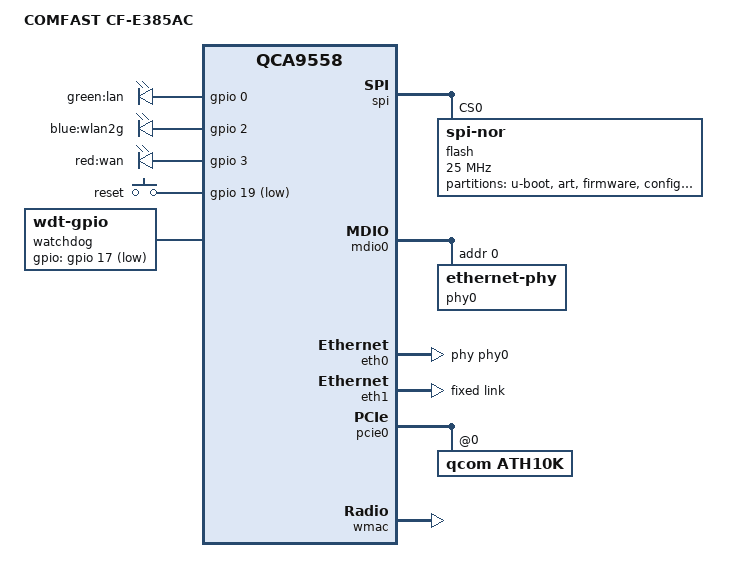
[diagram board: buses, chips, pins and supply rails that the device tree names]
// SPDX-License-Identifier: GPL-2.0-or-later OR MIT

#include "qca955x.dtsi"

#include <dt-bindings/gpio/gpio.h>
#include <dt-bindings/input/input.h>

/ {
	compatible = "comfast,cf-e385ac", "qca,qca9558";
	model = "COMFAST CF-E385AC";

	aliases {
		label-mac-device = &eth0;
		led-boot = &led_lan;
		led-failsafe = &led_lan;
		led-running = &led_lan;
		led-upgrade = &led_lan;
	};

	leds {
		compatible = "gpio-leds";

		led_lan: lan {
			label = "green:lan";
			gpios = <&gpio 0 GPIO_ACTIVE_HIGH>;
		};

		wlan2g {
			label = "blue:wlan2g";
			gpios = <&gpio 2 GPIO_ACTIVE_HIGH>;
			linux,default-trigger = "phy1tpt";
		};

		wan {
			label = "red:wan";
			gpios = <&gpio 3 GPIO_ACTIVE_HIGH>;
		};
	};

	keys {
		compatible = "gpio-keys";

		reset {
			label = "reset";
			linux,code = <KEY_RESTART>;
			gpios = <&gpio 19 GPIO_ACTIVE_LOW>;
			debounce-interval = <60>;
		};
	};

	watchdog {
		compatible = "linux,wdt-gpio";
		gpios = <&gpio 17 GPIO_ACTIVE_LOW>;
		hw_algo = "toggle";
		hw_margin_ms = <500>;
		always-running;
	};
};

&pinmux {
	pinctrl-names = "default";
	pinctrl-0 = <&jtag_disable_pins>;
};

&wdt {
	status = "disabled";
};

&spi {
	status = "okay";

	flash@0 {
		compatible = "jedec,spi-nor";
		reg = <0>;
		spi-max-frequency = <25000000>;

		partitions {
			compatible = "fixed-partitions";
			#address-cells = <1>;
			#size-cells = <1>;

			partition@0 {
				label = "u-boot";
				reg = <0x0 0x40000>;
				read-only;
			};

			art: partition@40000 {
				label = "art";
				reg = <0x40000 0x10000>;
				read-only;
			};

			partition@50000 {
				compatible = "denx,uimage";
				label = "firmware";
				reg = <0x050000 0xf90000>;
			};

			partition@fe0000 {
				label = "configs";
				reg = <0xfe0000 0x010000>;
				read-only;
			};

			partition@ff0000 {
				label = "art-backup";
				reg = <0xff0000 0x10000>;
				read-only;
			};
		};
	};
};

&mdio0 {
	status = "okay";

	phy0: ethernet-phy@0 {
		reg = <0>;

		qca,mib-poll-interval = <500>;
		qca,ar8327-initvals = <
			0x04 0x87600000 /* PORT0 PAD MODE CTRL: RGMII, MAC0/6 exchage, tx_delay 01, rx_delay 10 */
			0x0c 0x00080080 /* PORT6 PAD MODE CTRL: SGMII */
			0x10 0x81000080 /* POWER_ON_STRIP */
			0x7c 0x0000007e /* PORT0_STATUS */
			0x94 0x0000007e /* PORT6 STATUS */
			>;
	};
};

&eth0 {
	status = "okay";

	pll-data = <0xa6000000 0x00000101 0x00001616>;
	phy-handle = <&phy0>;

	nvmem-cells = <&macaddr_art_lan>;
	nvmem-cell-names = "mac-address";
};

&eth1 {
	status = "okay";

	pll-data = <0x03000101 0x00000101 0x00001616>;

	nvmem-cells = <&macaddr_art_lan>;
	nvmem-cell-names = "mac-address";
	mac-address-increment = <1>;

	fixed-link {
		speed = <1000>;
		full-duplex;
	};
};

&pcie0 {
	status = "okay";

	ath10k: wifi@0,0 {
		compatible = "qcom,ath10k";
		reg = <0x0000 0 0 0 0>;

		nvmem-cells = <&macaddr_art_wlan>, <&precal_ath10k>;
		nvmem-cell-names = "mac-address", "pre-calibration";
	};
};

&wmac {
	status = "okay";

	nvmem-cells = <&macaddr_art_wlan>, <&cal_ath9k>;
	nvmem-cell-names = "mac-address", "calibration";
	mac-address-increment = <8>;
};

&art {
	compatible = "nvmem-cells";
	#address-cells = <1>;
	#size-cells = <1>;

	macaddr_art_lan: macaddr@0 {
		reg = <0x0 0x6>;
	};

	macaddr_art_wlan: macaddr@6 {
		reg = <0x6 0x6>;
	};

	cal_ath9k: calibration@1000 {
		reg = <0x1000 0x440>;
	};

	precal_ath10k: calibration@5000 {
		reg = <0x5000 0x2f20>;
	};
};
